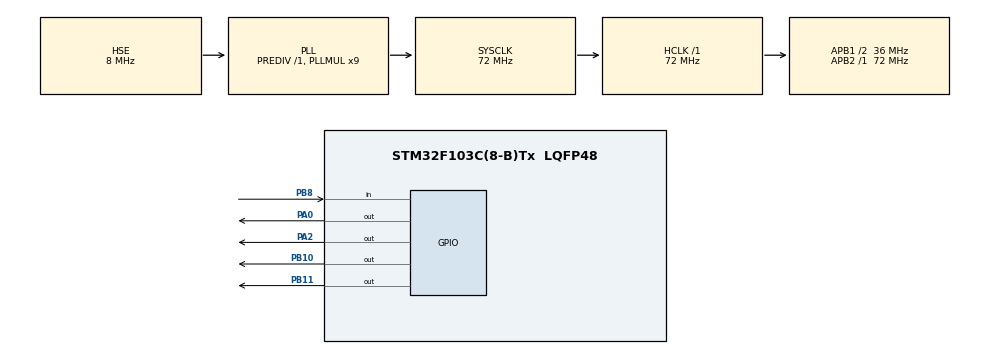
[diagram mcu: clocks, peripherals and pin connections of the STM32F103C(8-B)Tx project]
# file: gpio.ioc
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Mcu.Family=STM32F1
Mcu.Name=STM32F103C(8-B)Tx
Mcu.Package=LQFP48
NVIC.PriorityGroup=NVIC_PRIORITYGROUP_4
PA0-WKUP.Signal=GPIO_Output
PA13.Mode=Serial_Wire
PA13.Signal=SYS_JTMS-SWDIO
PA14.Mode=Serial_Wire
PA14.Signal=SYS_JTCK-SWCLK
PA2.Signal=GPIO_Output
PB10.Signal=GPIO_Output
PB11.Signal=GPIO_Output
PB8.GPIO_PuPd=GPIO_PULLUP
PB8.Signal=GPIO_Input
PD0-OSC_IN.Mode=HSE-External-Oscillator
PD0-OSC_IN.Signal=RCC_OSC_IN
PD1-OSC_OUT.Mode=HSE-External-Oscillator
PD1-OSC_OUT.Signal=RCC_OSC_OUT
ProjectManager.HeapSize=0x200
ProjectManager.StackSize=0x400
ProjectManager.TargetToolchain=MDK-ARM V5.32
RCC.AHBFreq_Value=72000000
RCC.APB1CLKDivider=RCC_HCLK_DIV2
RCC.APB1Freq_Value=36000000
RCC.APB1TimFreq_Value=72000000
RCC.APB2Freq_Value=72000000
RCC.APB2TimFreq_Value=72000000
RCC.HCLKFreq_Value=72000000
RCC.PLLMUL=RCC_PLL_MUL9
RCC.PLLSourceVirtual=RCC_PLLSOURCE_HSE
RCC.SYSCLKFreq_VALUE=72000000
RCC.SYSCLKSource=RCC_SYSCLKSOURCE_PLLCLK
RCC.USBFreq_Value=72000000
board=custom

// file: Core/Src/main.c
/* USER CODE BEGIN Header */
/**
  ******************************************************************************
  * @file           : main.c
  * @brief          : Main program body
  ******************************************************************************
  * @attention
  *
  * Copyright (c) 2025 STMicroelectronics.
  * All rights reserved.
  *
  * This software is licensed under terms that can be found in the LICENSE file
  * in the root directory of this software component.
  * If no LICENSE file comes with this software, it is provided AS-IS.
  *
  ******************************************************************************
  */
/* USER CODE END Header */
#include "main.h"
#include "stdio.h"

void SystemClock_Config(void);
static void MX_GPIO_Init(void);

/* USER CODE BEGIN 0 */

// su dung vong lap for - cung port
void LedOn1(void)
{

	for(int8_t i = 6; i >= 0; i--){
		if(i % 2 == 0){
			HAL_GPIO_WritePin(GPIOA, 1 << i, 0);
			HAL_Delay(500);
			HAL_GPIO_WritePin(GPIOA, 1 << i, 1);
		}
	}
		HAL_Delay(1000);
	for(int8_t i = 0; i <= 7; i++){
		if(i % 2 == 0){
			HAL_GPIO_WritePin(GPIOA, 1 << i, 0);
			HAL_Delay(500);
			HAL_GPIO_WritePin(GPIOA, 1 << i, 1);
		}
	}
}

// su dung con tro - cung port
void LedOn2(void)
{
	uint16_t led_pin[] = {1 << 0, 1 << 2, 1 << 4, 1 << 6};
	uint16_t *ptr;
	for(ptr = led_pin; ptr <= &led_pin[3]; ptr++){
		HAL_GPIO_WritePin(GPIOA, *ptr, 0);
			HAL_Delay(200);
			HAL_GPIO_WritePin(GPIOA, *ptr, 1);
	}
	HAL_Delay(500);
	for(ptr = &led_pin[3]; ptr >= led_pin; ptr--){
		HAL_GPIO_WritePin(GPIOA, *ptr, 0);
			HAL_Delay(200);
			HAL_GPIO_WritePin(GPIOA, *ptr, 1);
	}
	HAL_Delay(500);
}

// *************************************************************************
// su dung struct, union cung port - khac port

// struct de luu PORT va PIN
typedef struct
	{
		GPIO_TypeDef *GPIOx;
		uint16_t pin;
	} Led_t;

	// union dieu khien led: truy cap theo mang hoac tung led rieng biet
	typedef union
		{
//			struct
//			{
//				Led_t LED_1, LED_2, LED_3, LED_4;
//			};
			Led_t leds[4];
		} Led_Control_t;

	Led_Control_t Led_Control = {

			.leds = {
				{GPIOA, GPIO_PIN_0},
				{GPIOA, GPIO_PIN_2},
				{GPIOB, GPIO_PIN_10},
				{GPIOB, GPIO_PIN_11}
			}
		};

	// led sang tu trai sang phai va nguoc lai
	void right_left(void)
	{
	Led_t *ptr;
		for(ptr = Led_Control.leds; ptr <= &Led_Control.leds[3]; ptr++){
			HAL_GPIO_WritePin(ptr->GPIOx, ptr->pin, 0);
			HAL_Delay(500);
			HAL_GPIO_WritePin(ptr->GPIOx, ptr->pin, 1);
		}
		HAL_Delay(1000);
		for(ptr = &Led_Control.leds[3]; ptr >= Led_Control.leds; ptr--){
			HAL_GPIO_WritePin(ptr->GPIOx, ptr->pin, 0);
			HAL_Delay(500);
			HAL_GPIO_WritePin(ptr->GPIOx, ptr->pin, 1);
		}
	}

void don(void)
{
	for(int i=3;i>=0;i--){
		for(int k=0;k<=i;k++){
			Led_t exe = Led_Control.leds[k];
			HAL_GPIO_WritePin(exe.GPIOx, exe.pin, 0);
			HAL_Delay(500);
			HAL_GPIO_WritePin(exe.GPIOx, exe.pin, 1);
			if(k == i)
			{
				HAL_GPIO_WritePin(exe.GPIOx, exe.pin, 0);
			}
		}
	}
}
// *************************************************************************
/* USER CODE END 0 */

int main(void)
{

  /* MCU Configuration--------------------------------------------------------*/

  /* Reset of all peripherals, Initializes the Flash interface and the Systick. */
  HAL_Init();

  /* Configure the system clock */
  SystemClock_Config();

  /* Initialize all configured peripherals */
  MX_GPIO_Init();

  /* Infinite loop */
  while (1)
  {

    /* USER CODE BEGIN 3 */
		don();
		//right_left();
  }
  /* USER CODE END 3 */
}

void SystemClock_Config(void)
{
  RCC_OscInitTypeDef RCC_OscInitStruct = {0};
  RCC_ClkInitTypeDef RCC_ClkInitStruct = {0};

  /** Initializes the RCC Oscillators according to the specified parameters
  * in the RCC_OscInitTypeDef structure.
  */
  RCC_OscInitStruct.OscillatorType = RCC_OSCILLATORTYPE_HSE;
  RCC_OscInitStruct.HSEState = RCC_HSE_ON;
  RCC_OscInitStruct.HSEPredivValue = RCC_HSE_PREDIV_DIV1;
  RCC_OscInitStruct.HSIState = RCC_HSI_ON;
  RCC_OscInitStruct.PLL.PLLState = RCC_PLL_ON;
  RCC_OscInitStruct.PLL.PLLSource = RCC_PLLSOURCE_HSE;
  RCC_OscInitStruct.PLL.PLLMUL = RCC_PLL_MUL9;
  if (HAL_RCC_OscConfig(&RCC_OscInitStruct) != HAL_OK)
  {
    Error_Handler();
  }

  /** Initializes the CPU, AHB and APB buses clocks
  */
  RCC_ClkInitStruct.ClockType = RCC_CLOCKTYPE_HCLK|RCC_CLOCKTYPE_SYSCLK
                              |RCC_CLOCKTYPE_PCLK1|RCC_CLOCKTYPE_PCLK2;
  RCC_ClkInitStruct.SYSCLKSource = RCC_SYSCLKSOURCE_PLLCLK;
  RCC_ClkInitStruct.AHBCLKDivider = RCC_SYSCLK_DIV1;
  RCC_ClkInitStruct.APB1CLKDivider = RCC_HCLK_DIV2;
  RCC_ClkInitStruct.APB2CLKDivider = RCC_HCLK_DIV1;

  if (HAL_RCC_ClockConfig(&RCC_ClkInitStruct, FLASH_LATENCY_2) != HAL_OK)
  {
    Error_Handler();
  }
}

static void MX_GPIO_Init(void)
{
  GPIO_InitTypeDef GPIO_InitStruct = {0};

  /* GPIO Ports Clock Enable */
  __HAL_RCC_GPIOD_CLK_ENABLE();
  __HAL_RCC_GPIOA_CLK_ENABLE();
  __HAL_RCC_GPIOB_CLK_ENABLE();

  /*Configure GPIO pin Output Level */
  HAL_GPIO_WritePin(GPIOA, GPIO_PIN_0|GPIO_PIN_2, GPIO_PIN_RESET);

  /*Configure GPIO pin Output Level */
  HAL_GPIO_WritePin(GPIOB, GPIO_PIN_10|GPIO_PIN_11, GPIO_PIN_RESET);

  /*Configure GPIO pins : PA0 PA2 */
  GPIO_InitStruct.Pin = GPIO_PIN_0|GPIO_PIN_2;
  GPIO_InitStruct.Mode = GPIO_MODE_OUTPUT_PP;
  GPIO_InitStruct.Pull = GPIO_NOPULL;
  GPIO_InitStruct.Speed = GPIO_SPEED_FREQ_LOW;
  HAL_GPIO_Init(GPIOA, &GPIO_InitStruct);

  /*Configure GPIO pins : PB10 PB11 */
  GPIO_InitStruct.Pin = GPIO_PIN_10|GPIO_PIN_11;
  GPIO_InitStruct.Mode = GPIO_MODE_OUTPUT_PP;
  GPIO_InitStruct.Pull = GPIO_NOPULL;
  GPIO_InitStruct.Speed = GPIO_SPEED_FREQ_LOW;
  HAL_GPIO_Init(GPIOB, &GPIO_InitStruct);

  /*Configure GPIO pin : PB8 */
  GPIO_InitStruct.Pin = GPIO_PIN_8;
  GPIO_InitStruct.Mode = GPIO_MODE_INPUT;
  GPIO_InitStruct.Pull = GPIO_PULLUP;
  HAL_GPIO_Init(GPIOB, &GPIO_InitStruct);

}

void Error_Handler(void)
{
  __disable_irq();
  while (1)
  {
  }
}
